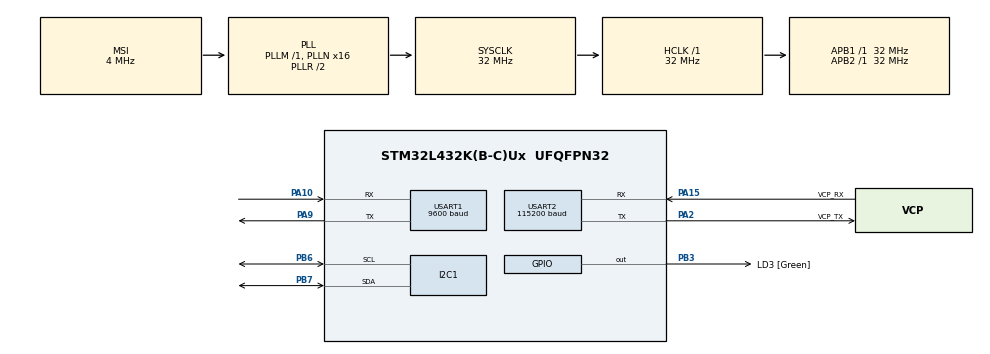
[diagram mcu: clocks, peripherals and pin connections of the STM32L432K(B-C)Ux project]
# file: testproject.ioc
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I2C1.Timing=0x00707CBB
Mcu.Family=STM32L4
Mcu.Name=STM32L432K(B-C)Ux
Mcu.Package=UFQFPN32
NVIC.PriorityGroup=NVIC_PRIORITYGROUP_4
PA0.GPIO_Label=MCO [High speed clock in]
PA0.Mode=HSE-External-Clock-Source-for-LittleOrca
PA0.Signal=RCC_CK_IN
PA10.Mode=Asynchronous
PA10.Signal=USART1_RX
PA13\ (JTMS-SWDIO).GPIO_Label=SWDIO
PA13\ (JTMS-SWDIO).Mode=Serial_Wire
PA13\ (JTMS-SWDIO).Signal=SYS_JTMS-SWDIO
PA14\ (JTCK-SWCLK).GPIO_Label=SWCLK
PA14\ (JTCK-SWCLK).Mode=Serial_Wire
PA14\ (JTCK-SWCLK).Signal=SYS_JTCK-SWCLK
PA15\ (JTDI).GPIO_Label=VCP_RX
PA15\ (JTDI).Mode=Asynchronous
PA15\ (JTDI).Signal=USART2_RX
PA2.GPIO_Label=VCP_TX
PA2.Mode=Asynchronous
PA2.Signal=USART2_TX
PA9.Mode=Asynchronous
PA9.Signal=USART1_TX
PB3\ (JTDO-TRACESWO).GPIO_Label=LD3 [Green]
PB3\ (JTDO-TRACESWO).Signal=GPIO_Output
PB6.GPIO_PuPdOD=GPIO_NOPULL
PB6.Mode=I2C
PB6.Signal=I2C1_SCL
PB7.GPIO_PuPdOD=GPIO_NOPULL
PB7.Mode=I2C
PB7.Signal=I2C1_SDA
PC14-OSC32_IN\ (PC14).Mode=LSE-External-Oscillator
PC14-OSC32_IN\ (PC14).Signal=RCC_OSC32_IN
PC15-OSC32_OUT\ (PC15).Mode=LSE-External-Oscillator
PC15-OSC32_OUT\ (PC15).Signal=RCC_OSC32_OUT
ProjectManager.HeapSize=0x200
ProjectManager.StackSize=0x400
ProjectManager.TargetToolchain=TrueSTUDIO
RCC.AHBFreq_Value=32000000
RCC.APB1Freq_Value=32000000
RCC.APB1TimFreq_Value=32000000
RCC.APB2Freq_Value=32000000
RCC.APB2TimFreq_Value=32000000
RCC.CortexFreq_Value=32000000
RCC.HCLKFreq_Value=32000000
RCC.HSE_VALUE=8000000
RCC.HSI16_VALUE=16000000
RCC.HSI48_VALUE=48000000
RCC.HSI_VALUE=16000000
RCC.MSI_VALUE=4000000
RCC.PLLMUL=RCC_PLLMUL_4
RCC.PLLN=16
RCC.SYSCLKFreq_VALUE=32000000
RCC.SYSCLKSource=RCC_SYSCLKSOURCE_PLLCLK
RCC.VCOOutputFreq_Value=64000000
USART1.BaudRate=9600
USART1.VirtualMode-Asynchronous=VM_ASYNC
USART1.WordLength=WORDLENGTH_8B
USART2.BaudRate=115200
USART2.VirtualMode-Asynchronous=VM_ASYNC
USART2.WordLength=WORDLENGTH_8B
board=NUCLEO-L432KC

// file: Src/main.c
/**
 ******************************************************************************
 * @file           : main.c
 * @brief          : Main program body
 ******************************************************************************
 ** This notice applies to any and all portions of this file
 * that are not between comment pairs USER CODE BEGIN and
 * USER CODE END. Other portions of this file, whether
 * inserted by the user or by software development tools
 * are owned by their respective copyright owners.
 *
 * COPYRIGHT(c) 2019 STMicroelectronics
 *
 * Redistribution and use in source and binary forms, with or without modification,
 * are permitted provided that the following conditions are met:
 *   1. Redistributions of source code must retain the above copyright notice,
 *      this list of conditions and the following disclaimer.
 *   2. Redistributions in binary form must reproduce the above copyright notice,
 *      this list of conditions and the following disclaimer in the documentation
 *      and/or other materials provided with the distribution.
 *   3. Neither the name of STMicroelectronics nor the names of its contributors
 *      may be used to endorse or promote products derived from this software
 *      without specific prior written permission.
 *
 * THIS SOFTWARE IS PROVIDED BY THE COPYRIGHT HOLDERS AND CONTRIBUTORS "AS IS"
 * AND ANY EXPRESS OR IMPLIED WARRANTIES, INCLUDING, BUT NOT LIMITED TO, THE
 * IMPLIED WARRANTIES OF MERCHANTABILITY AND FITNESS FOR A PARTICULAR PURPOSE ARE
 * DISCLAIMED. IN NO EVENT SHALL THE COPYRIGHT HOLDER OR CONTRIBUTORS BE LIABLE
 * FOR ANY DIRECT, INDIRECT, INCIDENTAL, SPECIAL, EXEMPLARY, OR CONSEQUENTIAL
 * DAMAGES (INCLUDING, BUT NOT LIMITED TO, PROCUREMENT OF SUBSTITUTE GOODS OR
 * SERVICES; LOSS OF USE, DATA, OR PROFITS; OR BUSINESS INTERRUPTION) HOWEVER
 * CAUSED AND ON ANY THEORY OF LIABILITY, WHETHER IN CONTRACT, STRICT LIABILITY,
 * OR TORT (INCLUDING NEGLIGENCE OR OTHERWISE) ARISING IN ANY WAY OUT OF THE USE
 * OF THIS SOFTWARE, EVEN IF ADVISED OF THE POSSIBILITY OF SUCH DAMAGE.
 *
 ******************************************************************************
 */
#include "main.h"
#include "stm32l4xx_hal.h"

/* USER CODE BEGIN Includes */
unsigned char start_delimeter = 0x7E;
unsigned char length_MSB = 0x00;
unsigned char length_LSB = 0x0C;
/* USER CODE END Includes */

I2C_HandleTypeDef hi2c1;

UART_HandleTypeDef huart1;
UART_HandleTypeDef huart2;

/* USER CODE BEGIN PV */
/* Private variables ---------------------------------------------------------*/

/* USER CODE END PV */

void SystemClock_Config(void);
static void MX_GPIO_Init(void);
static void MX_USART2_UART_Init(void);
static void MX_I2C1_Init(void);
static void MX_USART1_UART_Init(void);

/* USER CODE BEGIN PFP */
/* Private function prototypes -----------------------------------------------*/

/* USER CODE END PFP */

int main(void) {

	/* USER CODE BEGIN 1 */
	int frame_type = 0x01;		//Transmit Request Frame, API identifier
	int frame_id = 0x01;//Identifies data frame to enable respond frame, API Frame ID
	int option = 0x00;
	int destination_add_MSB = 0x00;
	int destination_add_LSB = 0x00;

	int sum2 = 0x00;
	char dataHexa[7] = "3+22,50";

	int sum1 = frame_type + frame_id + destination_add_MSB + destination_add_LSB
			+ option;

	for (int i = 0; i < strlen(dataHexa); i++) {
		sum2 += dataHexa[i];
	}

	int sum = 0;
	sum = sum1 + sum2;

	unsigned char two_last_digit = sum & 0xFF;

	unsigned char checksum = 255 - two_last_digit;
	//sprintf(msg, "%d\r\n",checksum);

	unsigned char message[16] = { start_delimeter, length_MSB, length_LSB,
			frame_type, frame_id, destination_add_MSB, destination_add_LSB,
			option, 0, 0, 0, 0, 0, 0, 0, checksum };
	//message[15]=checksum;
	for (int i = 0; i < 7; i++) {
		message[8 + i] = dataHexa[i];
	}
	/* USER CODE END 1 */

	/* MCU Configuration----------------------------------------------------------*/

	/* Reset of all peripherals, Initializes the Flash interface and the Systick. */
	HAL_Init();

	/* Configure the system clock */
	SystemClock_Config();

	/* Initialize all configured peripherals */
	MX_GPIO_Init();
	MX_USART2_UART_Init();
	MX_I2C1_Init();
	MX_USART1_UART_Init();

	/* Infinite loop */
	while (1) {
		//	HAL_UART_Transmit(&huart2,(uint8_t*)msg,4,100);
		/* USER CODE BEGIN 3 */
		// HAL_UART_Transmit(&huart1, message, sizeof(message), 100);
		HAL_UART_Transmit(&huart2, message, 16, 100);
		HAL_Delay(1000);
	}
	/* USER CODE END 3 */

}

void SystemClock_Config(void) {

	RCC_OscInitTypeDef RCC_OscInitStruct;
	RCC_ClkInitTypeDef RCC_ClkInitStruct;
	RCC_PeriphCLKInitTypeDef PeriphClkInit;

	/**Configure LSE Drive Capability
	 */
	HAL_PWR_EnableBkUpAccess();

	__HAL_RCC_LSEDRIVE_CONFIG(RCC_LSEDRIVE_LOW);

	/**Initializes the CPU, AHB and APB busses clocks
	 */
	RCC_OscInitStruct.OscillatorType = RCC_OSCILLATORTYPE_LSE
			| RCC_OSCILLATORTYPE_MSI;
	RCC_OscInitStruct.LSEState = RCC_LSE_ON;
	RCC_OscInitStruct.MSIState = RCC_MSI_ON;
	RCC_OscInitStruct.MSICalibrationValue = 0;
	RCC_OscInitStruct.MSIClockRange = RCC_MSIRANGE_6;
	RCC_OscInitStruct.PLL.PLLState = RCC_PLL_ON;
	RCC_OscInitStruct.PLL.PLLSource = RCC_PLLSOURCE_MSI;
	RCC_OscInitStruct.PLL.PLLM = 1;
	RCC_OscInitStruct.PLL.PLLN = 16;
	RCC_OscInitStruct.PLL.PLLP = RCC_PLLP_DIV7;
	RCC_OscInitStruct.PLL.PLLQ = RCC_PLLQ_DIV2;
	RCC_OscInitStruct.PLL.PLLR = RCC_PLLR_DIV2;
	if (HAL_RCC_OscConfig(&RCC_OscInitStruct) != HAL_OK) {
		_Error_Handler(__FILE__, __LINE__);
	}

	/**Initializes the CPU, AHB and APB busses clocks
	 */
	RCC_ClkInitStruct.ClockType = RCC_CLOCKTYPE_HCLK | RCC_CLOCKTYPE_SYSCLK
			| RCC_CLOCKTYPE_PCLK1 | RCC_CLOCKTYPE_PCLK2;
	RCC_ClkInitStruct.SYSCLKSource = RCC_SYSCLKSOURCE_PLLCLK;
	RCC_ClkInitStruct.AHBCLKDivider = RCC_SYSCLK_DIV1;
	RCC_ClkInitStruct.APB1CLKDivider = RCC_HCLK_DIV1;
	RCC_ClkInitStruct.APB2CLKDivider = RCC_HCLK_DIV1;

	if (HAL_RCC_ClockConfig(&RCC_ClkInitStruct, FLASH_LATENCY_1) != HAL_OK) {
		_Error_Handler(__FILE__, __LINE__);
	}

	PeriphClkInit.PeriphClockSelection = RCC_PERIPHCLK_USART1
			| RCC_PERIPHCLK_USART2 | RCC_PERIPHCLK_I2C1;
	PeriphClkInit.Usart1ClockSelection = RCC_USART1CLKSOURCE_PCLK2;
	PeriphClkInit.Usart2ClockSelection = RCC_USART2CLKSOURCE_PCLK1;
	PeriphClkInit.I2c1ClockSelection = RCC_I2C1CLKSOURCE_PCLK1;
	if (HAL_RCCEx_PeriphCLKConfig(&PeriphClkInit) != HAL_OK) {
		_Error_Handler(__FILE__, __LINE__);
	}

	/**Configure the main internal regulator output voltage
	 */
	if (HAL_PWREx_ControlVoltageScaling(PWR_REGULATOR_VOLTAGE_SCALE1)
			!= HAL_OK) {
		_Error_Handler(__FILE__, __LINE__);
	}

	/**Configure the Systick interrupt time
	 */
	HAL_SYSTICK_Config(HAL_RCC_GetHCLKFreq() / 1000);

	/**Configure the Systick
	 */
	HAL_SYSTICK_CLKSourceConfig(SYSTICK_CLKSOURCE_HCLK);

	/**Enable MSI Auto calibration
	 */
	HAL_RCCEx_EnableMSIPLLMode();

	/* SysTick_IRQn interrupt configuration */
	HAL_NVIC_SetPriority(SysTick_IRQn, 0, 0);
}

/* I2C1 init function */
static void MX_I2C1_Init(void) {

	hi2c1.Instance = I2C1;
	hi2c1.Init.Timing = 0x00707CBB;
	hi2c1.Init.OwnAddress1 = 0;
	hi2c1.Init.AddressingMode = I2C_ADDRESSINGMODE_7BIT;
	hi2c1.Init.DualAddressMode = I2C_DUALADDRESS_DISABLE;
	hi2c1.Init.OwnAddress2 = 0;
	hi2c1.Init.OwnAddress2Masks = I2C_OA2_NOMASK;
	hi2c1.Init.GeneralCallMode = I2C_GENERALCALL_DISABLE;
	hi2c1.Init.NoStretchMode = I2C_NOSTRETCH_DISABLE;
	if (HAL_I2C_Init(&hi2c1) != HAL_OK) {
		_Error_Handler(__FILE__, __LINE__);
	}

	/**Configure Analogue filter
	 */
	if (HAL_I2CEx_ConfigAnalogFilter(&hi2c1, I2C_ANALOGFILTER_ENABLE)
			!= HAL_OK) {
		_Error_Handler(__FILE__, __LINE__);
	}

	/**Configure Digital filter
	 */
	if (HAL_I2CEx_ConfigDigitalFilter(&hi2c1, 0) != HAL_OK) {
		_Error_Handler(__FILE__, __LINE__);
	}

}

/* USART1 init function */
static void MX_USART1_UART_Init(void) {

	huart1.Instance = USART1;
	huart1.Init.BaudRate = 9600;
	huart1.Init.WordLength = UART_WORDLENGTH_8B;
	huart1.Init.StopBits = UART_STOPBITS_1;
	huart1.Init.Parity = UART_PARITY_NONE;
	huart1.Init.Mode = UART_MODE_TX_RX;
	huart1.Init.HwFlowCtl = UART_HWCONTROL_NONE;
	huart1.Init.OverSampling = UART_OVERSAMPLING_16;
	huart1.Init.OneBitSampling = UART_ONE_BIT_SAMPLE_DISABLE;
	huart1.AdvancedInit.AdvFeatureInit = UART_ADVFEATURE_NO_INIT;
	if (HAL_UART_Init(&huart1) != HAL_OK) {
		_Error_Handler(__FILE__, __LINE__);
	}

}

/* USART2 init function */
static void MX_USART2_UART_Init(void) {

	huart2.Instance = USART2;
	huart2.Init.BaudRate = 115200;
	huart2.Init.WordLength = UART_WORDLENGTH_8B;
	huart2.Init.StopBits = UART_STOPBITS_1;
	huart2.Init.Parity = UART_PARITY_NONE;
	huart2.Init.Mode = UART_MODE_TX_RX;
	huart2.Init.HwFlowCtl = UART_HWCONTROL_NONE;
	huart2.Init.OverSampling = UART_OVERSAMPLING_16;
	huart2.Init.OneBitSampling = UART_ONE_BIT_SAMPLE_DISABLE;
	huart2.AdvancedInit.AdvFeatureInit = UART_ADVFEATURE_NO_INIT;
	if (HAL_UART_Init(&huart2) != HAL_OK) {
		_Error_Handler(__FILE__, __LINE__);
	}

}

/** Configure pins as
 * Analog
 * Input
 * Output
 * EVENT_OUT
 * EXTI
 */
static void MX_GPIO_Init(void) {

	GPIO_InitTypeDef GPIO_InitStruct;

	/* GPIO Ports Clock Enable */
	__HAL_RCC_GPIOC_CLK_ENABLE()
	;
	__HAL_RCC_GPIOA_CLK_ENABLE()
	;
	__HAL_RCC_GPIOB_CLK_ENABLE()
	;

	/*Configure GPIO pin Output Level */
	HAL_GPIO_WritePin(LD3_GPIO_Port, LD3_Pin, GPIO_PIN_RESET);

	/*Configure GPIO pin : LD3_Pin */
	GPIO_InitStruct.Pin = LD3_Pin;
	GPIO_InitStruct.Mode = GPIO_MODE_OUTPUT_PP;
	GPIO_InitStruct.Pull = GPIO_NOPULL;
	GPIO_InitStruct.Speed = GPIO_SPEED_FREQ_LOW;
	HAL_GPIO_Init(LD3_GPIO_Port, &GPIO_InitStruct);

}

void _Error_Handler(char *file, int line) {
	while (1) {
	}
}

/************************ (C) COPYRIGHT STMicroelectronics *****END OF FILE****/
